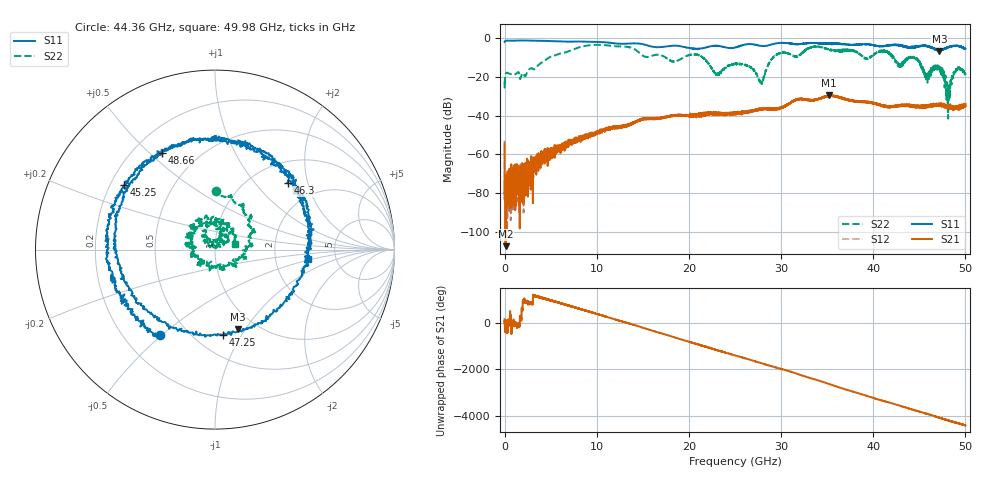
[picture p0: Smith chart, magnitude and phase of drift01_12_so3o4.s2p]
!Created with skrf (http://scikit-rf.org).
# Hz S RI R 50.0
!freq ReS11 ImS11 ReS21 ImS21 ReS12 ImS12 ReS22 ImS22
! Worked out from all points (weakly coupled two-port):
!   10001 points, 300 kHz to 50 GHz, reference 50 ohm
!   highest |S21| = -29.62 dB at 35.18 GHz (marker M1); lowest = -107.2 dB at 100.3 MHz (marker M2)
!   lowest |S11| = -6.7 dB at 47.18 GHz (marker M3), VSWR 2.72, Z = 41.2 - j46.5 ohm
!   |S11| at or under -10 dB: nowhere
!   |S22| runs from -41.6 to -3.6 dB; largest |S21 - S12| = 0.0036
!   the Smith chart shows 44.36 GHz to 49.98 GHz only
!   S11 on the Smith chart (normalised r, x): 44.36 GHz: 0.35, -0.50; 45.25 GHz: 0.26, +0.30; 46.3 GHz: 1.42, +1.50; 47.25 GHz: 0.68, -0.84; 48.66 GHz: 0.31, +0.55; 49.98 GHz: 3.10, -0.44
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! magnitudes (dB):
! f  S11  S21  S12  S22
! 300 kHz  -2.1  -54.5  -52.9  -22.1
! 100.3 MHz  -1.5  -107.2  -85.2  -18.7
! 270.3 MHz  -1.4  -76.7  -72.4  -18.0
! 2.06 GHz  -1.4  -65.8  -75.3  -18.4
! 8.335 GHz  -2.0  -51.5  -51.6  -4.6
! 16.67 GHz  -4.9  -41.5  -41.3  -8.7
! 23.07 GHz  -4.1  -38.8  -38.9  -18.5
! 25 GHz  -5.0  -38.4  -38.6  -13.6
! 27.84 GHz  -4.1  -36.7  -36.7  -22.8
! 29.48 GHz  -2.9  -36.1  -36.5  -8.8
! 33.34 GHz  -2.6  -32.0  -32.0  -4.8
! 35.18 GHz  -3.2  -29.6  -30.0  -6.1
! 41.67 GHz  -3.9  -35.3  -35.5  -7.4
! 44.36 GHz  -4.9  -35.0  -35.2  -9.8
! 45.25 GHz  -4.1  -35.4  -35.5  -14.9
! 46.3 GHz  -5.2  -34.4  -34.5  -15.7
! 47.18 GHz  -6.7  -34.3  -34.7  -15.0
! 47.25 GHz  -6.4  -34.5  -35.0  -17.6
! 48.12 GHz  -4.9  -35.2  -35.8  -36.5
! 48.66 GHz  -4.2  -37.0  -36.3  -19.8
! 49.98 GHz  -5.7  -35.1  -34.7  -18.5
! 50 GHz  -5.6  -34.0  -34.5  -18.6
